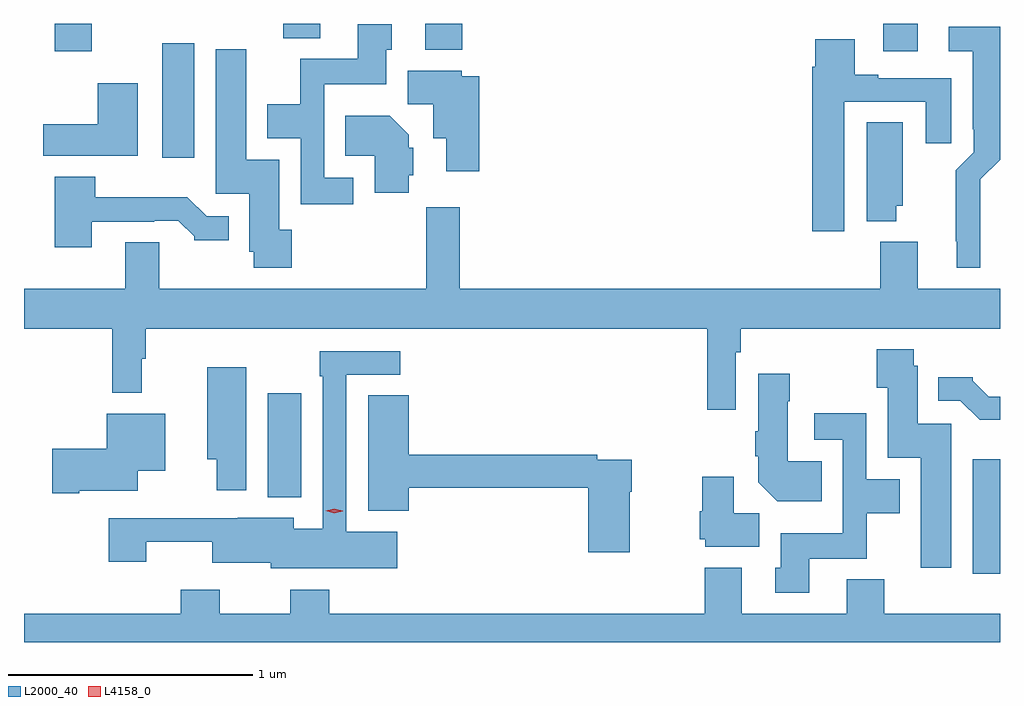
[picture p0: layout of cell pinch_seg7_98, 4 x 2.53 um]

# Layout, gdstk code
import gdstk
lib = gdstk.Library(unit=1e-6, precision=1e-09)
def R(c, l, rs):  # rectangles x0, y0, x1, y1
    for r in rs: c.add(gdstk.rectangle(r[:2], r[2:], *l))
def P(c, l, *ps):  # polygons
    for p in ps: c.add(gdstk.Polygon(p, *l))
L2000_40 = (2000, 40)
L4158_0 = (4158, 0)

pinch_seg7_98 = lib.new_cell('pinch_seg7_98')
R(pinch_seg7_98, L2000_40, [(979.427,998.28,979.539,998.749), (976.538,998.594,976.675,999.019), (976.106,999.984,976.237,1000.453), (975.665,1000.422,975.817,1000.533), (979.061,1000.422,979.201,1000.533), (977.183,1000.427,977.336,1000.533), (976.601,1000.475,976.753,1000.533)])
P(pinch_seg7_98, L2000_40, [(976.888,999.903),(976.77,999.903),(976.77,1000.286),(977.023,1000.286),(977.023,1000.428),(977.047,1000.428),(977.047,1000.531),(976.907,1000.531),(976.907,1000.39),(976.672,1000.39),(976.672,1000.204),(976.535,1000.204),(976.535,1000.064),(976.674,1000.064),(976.674,999.795),(976.888,999.795)],
  [(979.459,999.896),(979.539,999.976),(979.539,1000.522),(979.329,1000.522),(979.329,1000.421),(979.427,1000.421),(979.427,1000.102),(979.431,1000.102),(979.431,1000.008),(979.357,999.934),(979.357,999.643),(979.361,999.643),(979.361,999.533),(979.459,999.533)],
  [(978.901,1000.215),(979.235,1000.215),(979.235,1000.044),(979.339,1000.044),(979.339,1000.311),(979.039,1000.311),(979.039,1000.324),(978.943,1000.324),(978.943,1000.471),(978.782,1000.471),(978.782,1000.358),(978.77,1000.358),(978.77,999.684),(978.901,999.684)],
  [(976.637,999.69),(976.585,999.69),(976.585,999.976),(976.45,999.976),(976.45,1000.429),(976.325,1000.429),(976.325,999.837),(976.463,999.837),(976.463,999.6),(976.48,999.6),(976.48,999.534),(976.637,999.534)],
  [(977.405,1000.318),(977.334,1000.318),(977.334,1000.342),(977.111,1000.342),(977.111,1000.204),(977.216,1000.204),(977.216,1000.064),(977.27,1000.064),(977.27,999.93),(977.405,999.93)],
  [(976.006,1000.291),(975.842,1000.291),(975.842,1000.122),(975.618,1000.122),(975.618,999.992),(976.006,999.992)],
  [(977.116,999.912),(977.134,999.912),(977.134,1000.026),(977.116,1000.026),(977.116,1000.078),(977.038,1000.156),(976.855,1000.156),(976.855,999.992),(976.976,999.992),(976.976,999.842),(977.116,999.842)],
  [(979.114,999.789),(979.141,999.789),(979.141,1000.13),(978.992,1000.13),(978.992,999.725),(979.114,999.725)],
  [(975.817,999.723),(976.073,999.723),(976.073,999.726),(976.172,999.726),(976.236,999.662),(976.236,999.647),(976.378,999.647),(976.378,999.744),(976.287,999.744),(976.209,999.823),(975.83,999.823),(975.83,999.907),(975.665,999.907),(975.665,999.618),(975.817,999.618)],
  [(978.456,999.188),(978.476,999.188),(978.476,999.284),(979.539,999.284),(979.539,999.448),(979.201,999.448),(979.201,999.64),(979.049,999.64),(979.049,999.448),(977.324,999.448),(977.324,999.781),(977.188,999.781),(977.188,999.448),(976.093,999.448),(976.093,999.638),(975.953,999.638),(975.953,999.448),(975.539,999.448),(975.539,999.284),(975.901,999.284),(975.901,999.021),(976.022,999.021),(976.022,999.161),(976.037,999.161),(976.037,999.284),(978.34,999.284),(978.34,998.952),(978.456,998.952)],
  [(979.339,998.895),(979.201,998.895),(979.201,999.132),(979.185,999.132),(979.185,999.199),(979.033,999.199),(979.033,999.043),(979.079,999.043),(979.079,998.756),(979.214,998.756),(979.214,998.304),(979.339,998.304)],
  [(977.068,998.452),(976.86,998.452),(976.86,999.096),(977.08,999.096),(977.08,999.192),(976.752,999.192),(976.752,999.089),(976.764,999.089),(976.764,998.464),(976.645,998.464),(976.645,998.509),(976.414,998.509),(976.414,998.508),(975.887,998.508),(975.887,998.328),(976.039,998.328),(976.039,998.411),(976.31,998.411),(976.31,998.324),(976.551,998.324),(976.551,998.303),(977.068,998.303)],
  [(976.45,999.127),(976.289,999.127),(976.289,998.75),(976.328,998.75),(976.328,998.622),(976.45,998.622)],
  [(978.809,998.74),(978.67,998.74),(978.67,998.987),(978.678,998.987),(978.678,999.1),(978.548,999.1),(978.548,998.864),(978.536,998.864),(978.536,998.761),(978.548,998.761),(978.548,998.654),(978.626,998.576),(978.809,998.576)],
  [(979.539,999.006),(979.492,999.006),(979.428,999.07),(979.428,999.085),(979.286,999.085),(979.286,998.988),(979.377,998.988),(979.456,998.91),(979.539,998.91)],
  [(978.022,998.615),(978.03,998.615),(978.03,998.748),(977.888,998.748),(977.888,998.768),(977.116,998.768),(977.116,999.011),(976.949,999.011),(976.949,998.537),(977.116,998.537),(977.116,998.632),(977.852,998.632),(977.852,998.367),(978.022,998.367)],
  [(978.757,998.342),(978.993,998.342),(978.993,998.528),(979.129,998.528),(979.129,998.668),(978.99,998.668),(978.99,998.938),(978.777,998.938),(978.777,998.829),(978.894,998.829),(978.894,998.446),(978.641,998.446),(978.641,998.304),(978.617,998.304),(978.617,998.202),(978.757,998.202)],
  [(975.766,998.621),(976.006,998.621),(976.006,998.702),(976.117,998.702),(976.117,998.935),(975.878,998.935),(975.878,998.792),(975.654,998.792),(975.654,998.609),(975.766,998.609)],
  [(978.553,998.528),(978.448,998.528),(978.448,998.677),(978.319,998.677),(978.319,998.535),(978.308,998.535),(978.308,998.421),(978.33,998.421),(978.33,998.39),(978.553,998.39)],
  [(979.539,998.116),(979.064,998.116),(979.064,998.257),(978.911,998.257),(978.911,998.116),(978.481,998.116),(978.481,998.305),(978.329,998.305),(978.329,998.116),(976.79,998.116),(976.79,998.215),(976.63,998.215),(976.63,998.116),(976.341,998.116),(976.341,998.215),(976.181,998.215),(976.181,998.116),(975.539,998.116),(975.539,998),(979.539,998)])
P(pinch_seg7_98, L4158_0, [(976.81,998.528),(976.776,998.538),(976.776,998.538),(976.776,998.539),(976.811,998.547),(976.845,998.537),(976.846,998.537),(976.845,998.536)])

lib.write_gds('pinch_seg7_98.gds')
